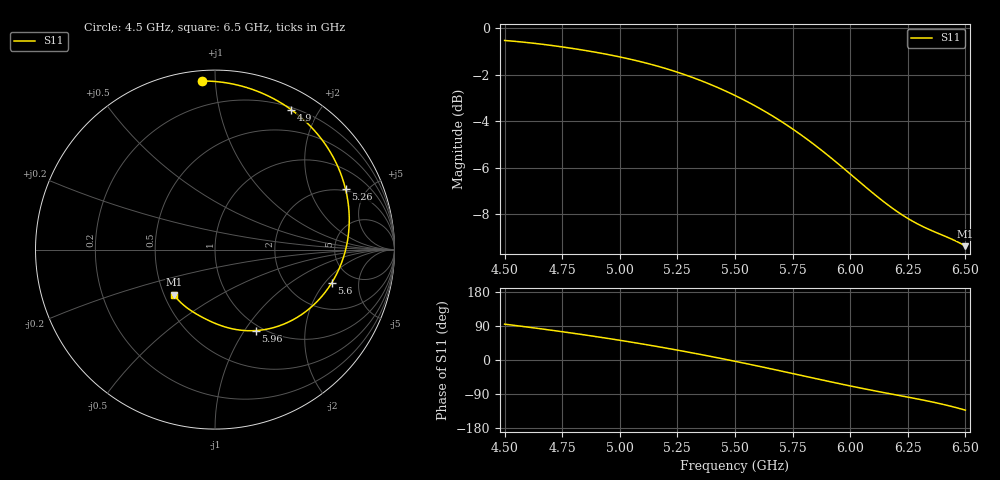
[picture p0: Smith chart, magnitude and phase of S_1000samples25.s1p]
! TOUCHSTONE file generated by CST MICROWAVE STUDIO
! Date and time: Wed Oct 26 17:49:24 2022
! Project name: L.cst
! Parameters = {Di=1.27; Epsilon_r=1.56; InnerDiameter=1.27; Length=2; Lf=10; Lg=60; OuterConductorThickness=0.2921; OuterDiameter=3.6; Wf=3; Wp=41.2; de=1.5; df=6.8; g=0.8; gx=4.36475; gy=4.11619; h=2.34; hf=1.524; px=14.0839; py=13.1431; w=9.7; wx=9.71911; wy=9.02692}
! Header version: 2018
! Port assignment regex: !\s*Touchstone port\s*([0-9]+)\s*=\s*(CST MWS port|CST DS port)\s*([0-9]+|Zmin|Zmax)\s*\(\"(.*)\"\)(\s*mode\s*([0-9]+))?.*
! Touchstone port assignment:
! Touchstone port 1 = CST MWS port 1 ("")
# GHz S DB R 50
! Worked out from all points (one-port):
!   101 points, 4.5 GHz to 6.5 GHz, reference 50 ohm
!   lowest |S11| = -9.4 dB at 6.5 GHz (marker M1), VSWR 2.03, Z = 28.1 - j15.9 ohm
!   |S11| at or under -10 dB: nowhere
!   S11 on the Smith chart (normalised r, x): 4.5 GHz: 0.05, +0.92; 4.9 GHz: 0.23, +1.66; 5.26 GHz: 1.89, +3.58; 5.6 GHz: 3.44, -2.37; 5.96 GHz: 0.93, -1.13; 6.5 GHz: 0.56, -0.32
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4.5  -0.52 94.6
4.58  -0.59 88.5
4.64  -0.65 83.7
4.76  -0.81 73.8
4.84  -0.93 66.8
4.9  -1.03 61.4
5  -1.23 52.0
5.06  -1.36 46.1
5.14  -1.56 37.9
5.2  -1.73 31.5
5.26  -1.92 24.9
5.32  -2.13 18.1
5.38  -2.36 11.1
5.44  -2.61 4.0
5.5  -2.89 -3.4
5.54  -3.09 -8.4
5.6  -3.41 -16.1
5.68  -3.88 -26.5
5.76  -4.40 -37.0
5.82  -4.83 -45.0
5.86  -5.13 -50.3
5.9  -5.44 -55.5
5.96  -5.93 -63.3
6  -6.27 -68.4
6.12  -7.27 -83.0
6.26  -8.25 -99.1
6.4  -8.91 -116.7
6.5  -9.38 -132.4
